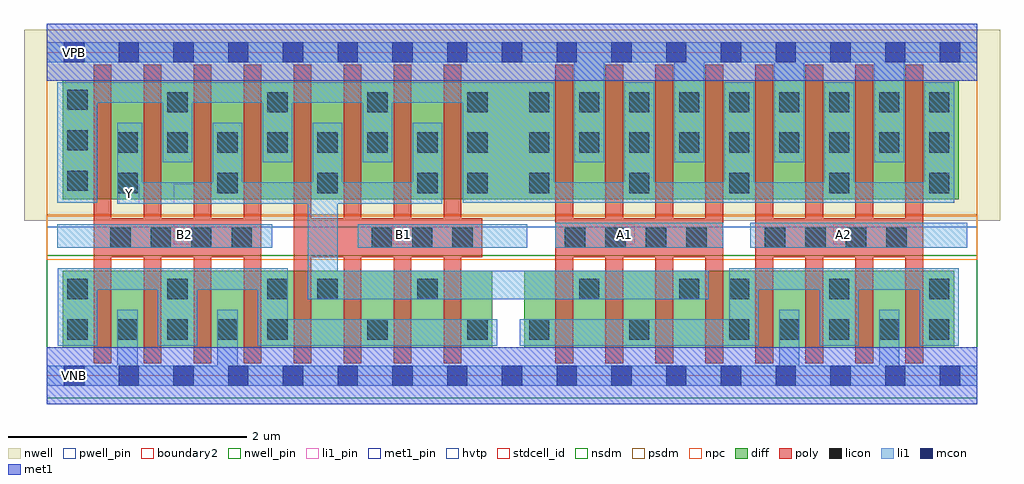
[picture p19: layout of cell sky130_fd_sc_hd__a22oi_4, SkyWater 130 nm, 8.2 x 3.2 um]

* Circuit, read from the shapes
.subckt sky130_fd_sc_hd__a22oi_4 A1 A2 B1 B2 VGND VNB VPB VPWR Y
XM1 VGND B2 n1 VNB sky130_fd_pr__nfet_01v8 w=0.65 l=0.15 m=4
XM2 Y B1 n1 VNB sky130_fd_pr__nfet_01v8 w=0.65 l=0.15 m=4
XM3 Y A1 n2 VNB sky130_fd_pr__nfet_01v8 w=0.65 l=0.15 m=4
XM4 VGND A2 n2 VNB sky130_fd_pr__nfet_01v8 w=0.65 l=0.15 m=4
XM5 Y B2 n3 VPB sky130_fd_pr__pfet_01v8_hvt w=1 l=0.15 m=4
XM6 Y B1 n3 VPB sky130_fd_pr__pfet_01v8_hvt w=1 l=0.15 m=4
XM7 VPWR A1 n3 VPB sky130_fd_pr__pfet_01v8_hvt w=1 l=0.15 m=4
XM8 VPWR A2 n3 VPB sky130_fd_pr__pfet_01v8_hvt w=1 l=0.15 m=4
.ends

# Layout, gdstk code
import gdstk
lib = gdstk.Library(unit=1e-6, precision=1e-09)
def R(c, l, rs):  # rectangles x0, y0, x1, y1
    for r in rs: c.add(gdstk.rectangle(r[:2], r[2:], *l))
def A(c, l, x, y, w, h, nx, ny, dx, dy):  # array of equal rectangles
    R(c, l, [(x+i*dx, y+j*dy, x+i*dx+w, y+j*dy+h) for i in range(nx) for j in range(ny)])
def P(c, l, *ps):  # polygons
    for p in ps: c.add(gdstk.Polygon(p, *l))
nwell_pin = (64, 16)
nwell = (64, 20)
diff = (65, 20)
poly = (66, 20)
licon = (66, 44)
li1_pin = (67, 16)
li1 = (67, 20)
mcon = (67, 44)
met1_pin = (68, 16)
met1 = (68, 20)
hvtp = (78, 44)
stdcell_id = (81, 4)
nsdm = (93, 44)
psdm = (94, 20)
npc = (95, 20)
pwell_pin = (122, 16)
boundary2 = (236, 0)

sky130_fd_sc_hd__a22oi_4 = lib.new_cell('sky130_fd_sc_hd__a22oi_4')
R(sky130_fd_sc_hd__a22oi_4, nwell_pin, [(0.15,2.635,0.32,2.805)])
R(sky130_fd_sc_hd__a22oi_4, nwell, [(-0.19,1.305,8.01,2.91)])
R(sky130_fd_sc_hd__a22oi_4, diff, [(0.135,0.235,3.745,0.885), (4.015,0.235,7.625,0.885), (0.135,1.485,7.665,2.485)])
P(sky130_fd_sc_hd__a22oi_4, poly, [(1.805,2.615),(1.655,2.615),(1.655,1.325),(1.385,1.325),(1.385,2.615),(1.235,2.615),(1.235,1.325),(0.965,1.325),(0.965,2.615),(0.815,2.615),(0.815,1.325),(0.545,1.325),(0.545,2.615),(0.395,2.615),(0.395,0.105),(0.545,0.105),(0.545,0.995),(0.815,0.995),(0.815,0.105),(0.965,0.105),(0.965,0.995),(1.235,0.995),(1.235,0.105),(1.385,0.105),(1.385,0.995),(1.655,0.995),(1.655,0.105),(1.805,0.105)],
  [(3.66,1.325),(3.485,1.325),(3.485,2.615),(3.335,2.615),(3.335,1.325),(3.065,1.325),(3.065,2.615),(2.915,2.615),(2.915,1.325),(2.645,1.325),(2.645,2.615),(2.495,2.615),(2.495,1.325),(2.225,1.325),(2.225,2.615),(2.075,2.615),(2.075,0.105),(2.225,0.105),(2.225,0.995),(2.495,0.995),(2.495,0.105),(2.645,0.105),(2.645,0.995),(2.915,0.995),(2.915,0.105),(3.065,0.105),(3.065,0.995),(3.335,0.995),(3.335,0.105),(3.485,0.105),(3.485,0.995),(3.66,0.995)],
  [(5.685,2.615),(5.535,2.615),(5.535,1.325),(5.265,1.325),(5.265,2.615),(5.115,2.615),(5.115,1.325),(4.845,1.325),(4.845,2.615),(4.695,2.615),(4.695,1.325),(4.425,1.325),(4.425,2.615),(4.275,2.615),(4.275,0.105),(4.425,0.105),(4.425,0.995),(4.695,0.995),(4.695,0.105),(4.845,0.105),(4.845,0.995),(5.115,0.995),(5.115,0.105),(5.265,0.105),(5.265,0.995),(5.535,0.995),(5.535,0.105),(5.685,0.105)],
  [(7.365,2.615),(7.215,2.615),(7.215,1.325),(6.945,1.325),(6.945,2.615),(6.795,2.615),(6.795,1.325),(6.525,1.325),(6.525,2.615),(6.375,2.615),(6.375,1.325),(6.105,1.325),(6.105,2.615),(5.955,2.615),(5.955,0.105),(6.105,0.105),(6.105,0.995),(6.375,0.995),(6.375,0.105),(6.525,0.105),(6.525,0.995),(6.795,0.995),(6.795,0.105),(6.945,0.105),(6.945,0.995),(7.215,0.995),(7.215,0.105),(7.365,0.105)])
A(sky130_fd_sc_hd__a22oi_4, licon, 0.175, 0.305, 0.17, 0.17, 5, 1, 0.42, 0)
A(sky130_fd_sc_hd__a22oi_4, licon, 4.055, 0.305, 0.17, 0.17, 3, 1, 0.84, 0)
A(sky130_fd_sc_hd__a22oi_4, licon, 6.155, 0.305, 0.17, 0.17, 4, 1, 0.42, 0)
A(sky130_fd_sc_hd__a22oi_4, licon, 0.175, 0.645, 0.17, 0.17, 3, 1, 0.84, 0)
A(sky130_fd_sc_hd__a22oi_4, licon, 5.735, 0.645, 0.17, 0.17, 3, 1, 0.84, 0)
A(sky130_fd_sc_hd__a22oi_4, licon, 0.535, 1.075, 0.17, 0.17, 4, 1, 0.34, 0)
A(sky130_fd_sc_hd__a22oi_4, licon, 2.73, 1.075, 0.17, 0.17, 3, 1, 0.34, 0)
A(sky130_fd_sc_hd__a22oi_4, licon, 4.355, 1.075, 0.17, 0.17, 4, 1, 0.34, 0)
A(sky130_fd_sc_hd__a22oi_4, licon, 6.035, 1.075, 0.17, 0.17, 4, 1, 0.34, 0)
A(sky130_fd_sc_hd__a22oi_4, licon, 0.595, 1.535, 0.17, 0.17, 4, 1, 0.84, 0)
A(sky130_fd_sc_hd__a22oi_4, licon, 4.055, 1.535, 0.17, 0.17, 5, 1, 0.84, 0)
A(sky130_fd_sc_hd__a22oi_4, licon, 0.175, 1.555, 0.17, 0.17, 1, 3, 0, 0.34)
A(sky130_fd_sc_hd__a22oi_4, licon, 0.595, 1.875, 0.17, 0.17, 8, 1, 0.42, 0)
A(sky130_fd_sc_hd__a22oi_4, licon, 4.055, 1.875, 0.17, 0.17, 9, 2, 0.42, 0.34)
A(sky130_fd_sc_hd__a22oi_4, licon, 1.015, 2.215, 0.17, 0.17, 4, 1, 0.84, 0)
R(sky130_fd_sc_hd__a22oi_4, licon, [(2.695,0.305,2.865,0.475), (3.535,0.305,3.705,0.475), (2.275,0.645,2.445,0.815), (3.115,0.645,3.285,0.815), (4.475,0.645,4.645,0.815), (5.315,0.645,5.485,0.815), (3.535,1.535,3.705,1.705)])
R(sky130_fd_sc_hd__a22oi_4, li1_pin, [(1.07,1.105,1.24,1.275), (2.91,1.105,3.08,1.275), (4.77,1.105,4.94,1.275), (6.61,1.105,6.78,1.275), (0.61,1.445,0.78,1.615), (1.07,1.445,1.24,1.615)])
R(sky130_fd_sc_hd__a22oi_4, li1, [(0.09,1.075,1.895,1.275), (2.615,1.075,4.04,1.275), (4.275,1.075,5.685,1.285), (5.91,1.075,7.735,1.285)])
P(sky130_fd_sc_hd__a22oi_4, li1, [(7.665,0.905),(5.735,0.905),(5.735,0.475),(3.975,0.475),(3.975,0.255),(5.985,0.255),(5.985,0.725),(6.495,0.725),(6.495,0.255),(6.825,0.255),(6.825,0.725),(7.335,0.725),(7.335,0.255),(7.665,0.255)],
  [(7.625,2.465),(7.375,2.465),(7.375,1.625),(6.785,1.625),(6.785,2.465),(6.535,2.465),(6.535,1.625),(5.945,1.625),(5.945,2.465),(5.695,2.465),(5.695,1.625),(5.105,1.625),(5.105,2.465),(4.855,2.465),(4.855,1.625),(4.265,1.625),(4.265,2.465),(0.09,2.465),(0.09,1.455),(0.425,1.455),(0.425,2.295),(0.975,2.295),(0.975,1.795),(1.225,1.795),(1.225,2.295),(1.815,2.295),(1.815,1.795),(2.065,1.795),(2.065,2.295),(2.655,2.295),(2.655,1.795),(2.905,1.795),(2.905,2.295),(3.495,2.295),(3.495,1.455),(7.625,1.455)],
  [(3.785,0.475),(2.025,0.475),(2.025,0.905),(0.095,0.905),(0.095,0.255),(0.425,0.255),(0.425,0.725),(0.935,0.725),(0.935,0.255),(1.265,0.255),(1.265,0.725),(1.775,0.725),(1.775,0.255),(3.785,0.255)],
  [(5.565,0.885),(2.445,0.885),(2.445,1.445),(3.325,1.445),(3.325,2.125),(3.075,2.125),(3.075,1.625),(2.485,1.625),(2.485,2.125),(2.235,2.125),(2.235,1.625),(1.645,1.625),(1.645,2.125),(1.395,2.125),(1.395,1.625),(0.805,1.625),(0.805,2.125),(0.595,2.125),(0.595,1.445),(2.195,1.445),(2.195,0.645),(5.565,0.645)],
  [(7.82,2.805),(0,2.805),(0,2.635),(4.435,2.635),(4.435,1.795),(4.685,1.795),(4.685,2.635),(5.275,2.635),(5.275,1.795),(5.525,1.795),(5.525,2.635),(6.115,2.635),(6.115,1.795),(6.365,1.795),(6.365,2.635),(6.955,2.635),(6.955,1.795),(7.205,1.795),(7.205,2.635),(7.82,2.635)],
  [(7.82,0.085),(7.165,0.085),(7.165,0.555),(6.995,0.555),(6.995,0.085),(6.325,0.085),(6.325,0.555),(6.155,0.555),(6.155,0.085),(1.605,0.085),(1.605,0.555),(1.435,0.555),(1.435,0.085),(0.765,0.085),(0.765,0.555),(0.595,0.555),(0.595,0.085),(0,0.085),(0,-0.085),(7.82,-0.085)])
A(sky130_fd_sc_hd__a22oi_4, mcon, 0.145, -0.085, 0.17, 0.17, 17, 2, 0.46, 2.72)
R(sky130_fd_sc_hd__a22oi_4, met1_pin, [(0.15,-0.085,0.32,0.085), (0.15,2.635,0.32,2.805)])
R(sky130_fd_sc_hd__a22oi_4, hvtp, [(0,1.25,7.82,2.72)])
R(sky130_fd_sc_hd__a22oi_4, stdcell_id, [(0,0,7.82,2.72)])
R(sky130_fd_sc_hd__a22oi_4, nsdm, [(0,-0.19,7.82,1.015)])
R(sky130_fd_sc_hd__a22oi_4, psdm, [(0,1.355,7.82,2.91)])
R(sky130_fd_sc_hd__a22oi_4, npc, [(0,0.975,7.82,1.345)])
R(sky130_fd_sc_hd__a22oi_4, pwell_pin, [(0.15,-0.085,0.32,0.085)])
R(sky130_fd_sc_hd__a22oi_4, boundary2, [(0,0,7.82,2.72)])
sky130_fd_sc_hd__a22oi_4.add(gdstk.FlexPath([(0,2.72),(7.82,2.72)], 0.48, ends="flush", simple_path=True, layer=68, datatype=20))  # met1
sky130_fd_sc_hd__a22oi_4.add(gdstk.FlexPath([(0,0),(7.82,0)], 0.48, ends="flush", simple_path=True, layer=68, datatype=20))  # met1
sky130_fd_sc_hd__a22oi_4.add(gdstk.Label('A2', (6.695,1.19), layer=67, texttype=5))
sky130_fd_sc_hd__a22oi_4.add(gdstk.Label('B2', (1.155,1.19), layer=67, texttype=5))
sky130_fd_sc_hd__a22oi_4.add(gdstk.Label('A1', (4.855,1.19), layer=67, texttype=5))
sky130_fd_sc_hd__a22oi_4.add(gdstk.Label('B1', (2.995,1.19), layer=67, texttype=5))
sky130_fd_sc_hd__a22oi_4.add(gdstk.Label('Y', (0.695,1.53), layer=67, texttype=5))
sky130_fd_sc_hd__a22oi_4.add(gdstk.Label('VNB', (0.235,0), layer=64, texttype=59))
sky130_fd_sc_hd__a22oi_4.add(gdstk.Label('VPB', (0.235,2.72), layer=64, texttype=5))
sky130_fd_sc_hd__a22oi_4.add(gdstk.Label('VGND', (0.23,0), layer=68, texttype=5))
sky130_fd_sc_hd__a22oi_4.add(gdstk.Label('VPWR', (0.235,2.72), layer=68, texttype=5))
sky130_fd_sc_hd__a22oi_4.add(gdstk.Label('a22oi_4', (0,0), layer=83, texttype=44))

lib.write_gds('sky130_fd_sc_hd__a22oi_4.gds')
